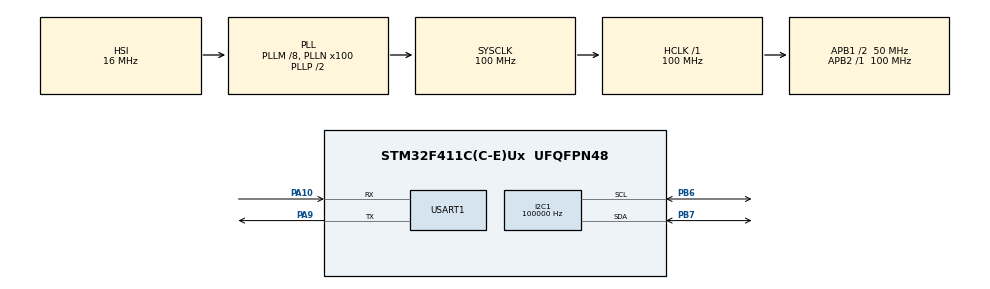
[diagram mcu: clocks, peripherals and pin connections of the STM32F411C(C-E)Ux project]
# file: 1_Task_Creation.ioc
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FREERTOS.Tasks01=defaultTask,24,256,StartDefaultTask,Default,NULL,Dynamic,NULL,NULL
I2C1.ClockSpeed=100000
Mcu.Family=STM32F4
Mcu.Name=STM32F411C(C-E)Ux
Mcu.Package=UFQFPN48
NVIC.PriorityGroup=NVIC_PRIORITYGROUP_4
NVIC.TIM1_UP_TIM10_IRQn=true\:15\:0\:false\:false\:true\:false\:false\:true\:true
NVIC.TimeBase=TIM1_UP_TIM10_IRQn
NVIC.TimeBaseIP=TIM1
PA10.Mode=Asynchronous
PA10.Signal=USART1_RX
PA13.Mode=Serial_Wire
PA13.Signal=SYS_JTMS-SWDIO
PA14.Mode=Serial_Wire
PA14.Signal=SYS_JTCK-SWCLK
PA9.Mode=Asynchronous
PA9.Signal=USART1_TX
PB6.Mode=I2C
PB6.Signal=I2C1_SCL
PB7.Mode=I2C
PB7.Signal=I2C1_SDA
PC14-OSC32_IN.Mode=LSE-External-Oscillator
PC14-OSC32_IN.Signal=RCC_OSC32_IN
PC15-OSC32_OUT.Mode=LSE-External-Oscillator
PC15-OSC32_OUT.Signal=RCC_OSC32_OUT
PH0\ -\ OSC_IN.Mode=HSE-External-Oscillator
PH0\ -\ OSC_IN.Signal=RCC_OSC_IN
PH1\ -\ OSC_OUT.Mode=HSE-External-Oscillator
PH1\ -\ OSC_OUT.Signal=RCC_OSC_OUT
ProjectManager.HeapSize=0x200
ProjectManager.StackSize=0x400
ProjectManager.TargetToolchain=MDK-ARM V5.32
RCC.48MHZClocksFreq_Value=50000000
RCC.AHBFreq_Value=100000000
RCC.APB1CLKDivider=RCC_HCLK_DIV2
RCC.APB1Freq_Value=50000000
RCC.APB1TimFreq_Value=100000000
RCC.APB2Freq_Value=100000000
RCC.APB2TimFreq_Value=100000000
RCC.CortexFreq_Value=100000000
RCC.HCLKFreq_Value=100000000
RCC.HSE_VALUE=25000000
RCC.HSI_VALUE=16000000
RCC.PLLM=8
RCC.PLLN=100
RCC.SYSCLKFreq_VALUE=100000000
RCC.SYSCLKSource=RCC_SYSCLKSOURCE_PLLCLK
RCC.VCOOutputFreq_Value=200000000
USART1.VirtualMode=VM_ASYNC
VP_FREERTOS_VS_CMSIS_V2.Mode=CMSIS_V2
VP_SYS_VS_tim1.Mode=TIM1
board=custom

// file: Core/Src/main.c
/* USER CODE BEGIN Header */
/**
  ******************************************************************************
  * @file           : main.c
  * @brief          : Main program body
  ******************************************************************************
  * @attention
  *
  * Copyright (c) 2026 STMicroelectronics.
  * All rights reserved.
  *
  * This software is licensed under terms that can be found in the LICENSE file
  * in the root directory of this software component.
  * If no LICENSE file comes with this software, it is provided AS-IS.
  *
  ******************************************************************************
  */
/* USER CODE END Header */
#include "main.h"
#include "cmsis_os.h"
#include "i2c.h"
#include "usart.h"
#include "gpio.h"

void SystemClock_Config(void);
void MX_FREERTOS_Init(void);

int main(void)
{

  /* MCU Configuration--------------------------------------------------------*/

  /* Reset of all peripherals, Initializes the Flash interface and the Systick. */
  HAL_Init();

  /* Configure the system clock */
  SystemClock_Config();

  /* Initialize all configured peripherals */
  MX_GPIO_Init();
  MX_I2C1_Init();
  MX_USART1_UART_Init();

  /* Init scheduler */
  osKernelInitialize();  /* Call init function for freertos objects (in cmsis_os2.c) */
  MX_FREERTOS_Init();

  /* Start scheduler */
  osKernelStart();

  /* We should never get here as control is now taken by the scheduler */

  /* Infinite loop */
  while (1)
  {

  }
}

void SystemClock_Config(void)
{
  RCC_OscInitTypeDef RCC_OscInitStruct = {0};
  RCC_ClkInitTypeDef RCC_ClkInitStruct = {0};

  /** Configure the main internal regulator output voltage
  */
  __HAL_RCC_PWR_CLK_ENABLE();
  __HAL_PWR_VOLTAGESCALING_CONFIG(PWR_REGULATOR_VOLTAGE_SCALE1);

  /** Initializes the RCC Oscillators according to the specified parameters
  * in the RCC_OscInitTypeDef structure.
  */
  RCC_OscInitStruct.OscillatorType = RCC_OSCILLATORTYPE_HSI;
  RCC_OscInitStruct.HSIState = RCC_HSI_ON;
  RCC_OscInitStruct.HSICalibrationValue = RCC_HSICALIBRATION_DEFAULT;
  RCC_OscInitStruct.PLL.PLLState = RCC_PLL_ON;
  RCC_OscInitStruct.PLL.PLLSource = RCC_PLLSOURCE_HSI;
  RCC_OscInitStruct.PLL.PLLM = 8;
  RCC_OscInitStruct.PLL.PLLN = 100;
  RCC_OscInitStruct.PLL.PLLP = RCC_PLLP_DIV2;
  RCC_OscInitStruct.PLL.PLLQ = 4;
  if (HAL_RCC_OscConfig(&RCC_OscInitStruct) != HAL_OK)
  {
    Error_Handler();
  }

  /** Initializes the CPU, AHB and APB buses clocks
  */
  RCC_ClkInitStruct.ClockType = RCC_CLOCKTYPE_HCLK|RCC_CLOCKTYPE_SYSCLK
                              |RCC_CLOCKTYPE_PCLK1|RCC_CLOCKTYPE_PCLK2;
  RCC_ClkInitStruct.SYSCLKSource = RCC_SYSCLKSOURCE_PLLCLK;
  RCC_ClkInitStruct.AHBCLKDivider = RCC_SYSCLK_DIV1;
  RCC_ClkInitStruct.APB1CLKDivider = RCC_HCLK_DIV2;
  RCC_ClkInitStruct.APB2CLKDivider = RCC_HCLK_DIV1;

  if (HAL_RCC_ClockConfig(&RCC_ClkInitStruct, FLASH_LATENCY_3) != HAL_OK)
  {
    Error_Handler();
  }
}

void HAL_TIM_PeriodElapsedCallback(TIM_HandleTypeDef *htim)
{
  if (htim->Instance == TIM1)
  {
    HAL_IncTick();
  }
}

void Error_Handler(void)
{
  __disable_irq();
  while (1)
  {
  }
}

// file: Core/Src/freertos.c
/* USER CODE BEGIN Header */
/**
  ******************************************************************************
  * File Name          : freertos.c
  * Description        : Code for freertos applications
  ******************************************************************************
  * @attention
  *
  * Copyright (c) 2026 STMicroelectronics.
  * All rights reserved.
  *
  * This software is licensed under terms that can be found in the LICENSE file
  * in the root directory of this software component.
  * If no LICENSE file comes with this software, it is provided AS-IS.
  *
  ******************************************************************************
  */
/* USER CODE END Header */

#include "FreeRTOS.h"
#include "task.h"
#include "main.h"
#include "cmsis_os.h"

/* USER CODE BEGIN Includes */
#include "stdio.h"
#include "i2c.h"
#include "lsm6dsv16x.h"
#include "usart.h"
/* USER CODE END Includes */

/* USER CODE BEGIN PD */

/* Poll cadence. The IMU runs at 240 Hz but one register read costs ~2 ms on a
   100 kHz bus, and draining the FIFO adds most of another millisecond, so the
   loop lands near 100 Hz; every IMU_OUTPUT_EVERY polls the accumulated samples
   are averaged and one CSV line goes out (~35 Hz). Keep the line rate
   comfortably under 115200/(chars per line) or the UART becomes the bottleneck
   instead of the bus. */
#define IMU_POLL_MS              5U
#define IMU_OUTPUT_EVERY         3U

/* While no fused sample has ever arrived, say so with the evidence that would
   explain why: how many FIFO words were drained and what tag the last one had.
   Rate-limited because this prints in the middle of the CSV stream. */
#define IMU_SFLP_WARN_MS         3000U

/* Consecutive "data not ready" reads before the device counts as stopped. At
   ~140 Hz this is about 3.5 s, far longer than a momentary stall, and it is the
   only way out of an IMU that is powered but has stopped converting. */
#define IMU_MAX_BUSY_STREAK      500U

/* USER CODE END PD */

/* Definitions for defaultTask */
osThreadId_t defaultTaskHandle;
const osThreadAttr_t defaultTask_attributes = {
  .name = "defaultTask",
  .stack_size = 256 * 4,
  .priority = (osPriority_t) osPriorityNormal,
};

/* USER CODE BEGIN FunctionPrototypes */
static void imu_delay_us(uint32_t us);
static void imu_bus_recover(void);
static long imu_e4(float value);
/* USER CODE END FunctionPrototypes */

void StartDefaultTask(void *argument);

void MX_FREERTOS_Init(void); /* (MISRA C 2004 rule 8.1) */

void MX_FREERTOS_Init(void) {

  /* Create the thread(s) */
  /* creation of defaultTask */
  defaultTaskHandle = osThreadNew(StartDefaultTask, NULL, &defaultTask_attributes);

}

void StartDefaultTask(void *argument)
{
  /* USER CODE BEGIN StartDefaultTask */
  LSM6DSV16X_RawData imu_data;
  LSM6DSV16X_Sflp sflp;
  HAL_StatusTypeDef imu_status;
  HAL_StatusTypeDef sflp_status;
  uint8_t imu_ready = 0U;
  uint8_t read_error_count = 0U;
  uint8_t output_divider = 0U;
  uint8_t sample_count = 0U;
  uint16_t busy_streak = 0U;
  int32_t accel_sum[3] = {0, 0, 0};
  int32_t gyro_sum[3] = {0, 0, 0};
  /* Last fused attitude, scalar-first. All four zero is the "the chip has not
     produced one yet" sentinel the host looks for. */
  float quat[4] = {0.0f, 0.0f, 0.0f, 0.0f};
  uint32_t sflp_seen = 0U;
  uint32_t fifo_words = 0U;
  uint8_t fifo_tag = 0U;
  uint32_t sflp_warn_tick = 0U;

  printf("\r\nSTM32F411 LSM6DSV16X I2C reader\r\n");
  printf("I2C1: PB6=SCL, PB7=SDA, 100kHz; UART1: 115200 8N1\r\n");

  /* Infinite loop */
  for(;;)
  {
    if (imu_ready == 0U)
    {
      /* Unlock the bus before every detection attempt. A HAL I2C state machine
         that latched up never recovers on its own, and re-running Init alone
         leaves it latched: IsDeviceReady just fails again forever. */
      imu_bus_recover();

      imu_status = LSM6DSV16X_Init(&hi2c1);
      if (imu_status == HAL_OK)
      {
        imu_ready = 1U;
        read_error_count = 0U;
        busy_streak = 0U;
        output_divider = 0U;
        sample_count = 0U;
        sflp_seen = 0U;
        fifo_words = 0U;
        fifo_tag = 0U;
        sflp_warn_tick = HAL_GetTick();
        quat[0] = 0.0f;
        quat[1] = 0.0f;
        quat[2] = 0.0f;
        quat[3] = 0.0f;
        printf("LSM6DSV16X detected at 0x%02X (WHO_AM_I=0x70)\r\n",
               (unsigned int)LSM6DSV16X_GetAddress());
        if (LSM6DSV16X_EnableSflp() == HAL_OK)
        {
          printf("SFLP enabled: game rotation vector at 120 Hz, read from the FIFO\r\n");
        }
        else
        {
          printf("SFLP unavailable; quaternion columns will stay zero\r\n");
        }
        /* q*_e4 is a quaternion component times 10000: printf cannot format a
           float here, and a fixed-point column keeps the CSV self-describing. */
        printf("time_ms,ax_mg,ay_mg,az_mg,gx_mdps,gy_mdps,gz_mdps,"
               "qw_e4,qx_e4,qy_e4,qz_e4\r\n");
      }
      else
      {
        printf("LSM6DSV16X not found at 0x6A/0x6B; retrying...\r\n");
        osDelay(1000U);
      }
      continue;
    }

    imu_status = LSM6DSV16X_ReadRaw(&imu_data);
    sflp_status = LSM6DSV16X_ReadSflp(&sflp);

    if (sflp_status == HAL_OK)
    {
      /* Straight from the chip's fusion block -- no host-side filtering. It
         ships x/y/z only; the driver rebuilds w from the unit-norm constraint. */
      quat[0] = sflp.quat.w;
      quat[1] = sflp.quat.x;
      quat[2] = sflp.quat.y;
      quat[3] = sflp.quat.z;
      ++sflp_seen;
    }
    else if (sflp_status == HAL_BUSY)
    {
      if (sflp.words != 0U)
      {
        fifo_words += (uint32_t)sflp.words;
        fifo_tag = sflp.tag;
      }
    }
    else
    {
      /* Bus trouble on the FIFO read: let the raw path's error counter see it. */
      imu_status = HAL_ERROR;
    }

    if (imu_status == HAL_OK)
    {
      read_error_count = 0U;
      busy_streak = 0U;

      /* The ODR is faster than this loop, so each read returns the newest
         conversion and the ones in between are gone. Averaging what is read
         before decimating is what keeps their quantisation out of the stream. */
      accel_sum[0] += imu_data.accel_x;
      accel_sum[1] += imu_data.accel_y;
      accel_sum[2] += imu_data.accel_z;
      gyro_sum[0] += imu_data.gyro_x;
      gyro_sum[1] += imu_data.gyro_y;
      gyro_sum[2] += imu_data.gyro_z;
      ++sample_count;

      if (++output_divider >= IMU_OUTPUT_EVERY)
      {
        output_divider = 0U;
        printf("%lu,%ld,%ld,%ld,%ld,%ld,%ld,%ld,%ld,%ld,%ld\r\n",
               (unsigned long)HAL_GetTick(),
               (long)LSM6DSV16X_AccelRawToMg((int16_t)(accel_sum[0] / (int32_t)sample_count)),
               (long)LSM6DSV16X_AccelRawToMg((int16_t)(accel_sum[1] / (int32_t)sample_count)),
               (long)LSM6DSV16X_AccelRawToMg((int16_t)(accel_sum[2] / (int32_t)sample_count)),
               (long)LSM6DSV16X_GyroRawToMdps((int16_t)(gyro_sum[0] / (int32_t)sample_count)),
               (long)LSM6DSV16X_GyroRawToMdps((int16_t)(gyro_sum[1] / (int32_t)sample_count)),
               (long)LSM6DSV16X_GyroRawToMdps((int16_t)(gyro_sum[2] / (int32_t)sample_count)),
               imu_e4(quat[0]),
               imu_e4(quat[1]),
               imu_e4(quat[2]),
               imu_e4(quat[3]));
        accel_sum[0] = 0;
        accel_sum[1] = 0;
        accel_sum[2] = 0;
        gyro_sum[0] = 0;
        gyro_sum[1] = 0;
        gyro_sum[2] = 0;
        sample_count = 0U;
      }
    }
    else if (imu_status == HAL_BUSY)
    {
      /* Routine: the loop polls a little faster than the device converts. A
         streak this long means the device is not converting at all. */
      if (++busy_streak >= IMU_MAX_BUSY_STREAK)
      {
        printf("LSM6DSV16X stopped producing data; reinitializing...\r\n");
        imu_ready = 0U;
      }
    }
    else
    {
      ++read_error_count;
      if (read_error_count >= 3U)
      {
        printf("LSM6DSV16X I2C read failed; reinitializing...\r\n");
        imu_ready = 0U;
      }
    }

    if ((sflp_seen == 0U) &&
        ((HAL_GetTick() - sflp_warn_tick) >= IMU_SFLP_WARN_MS))
    {
      sflp_warn_tick = HAL_GetTick();
      printf("SFLP waiting: no game rotation vector yet "
             "(%lu FIFO words drained, last tag 0x%02X)\r\n",
             (unsigned long)fifo_words, (unsigned int)fifo_tag);
    }

    osDelay(IMU_POLL_MS);
  }
  /* USER CODE END StartDefaultTask */
}

/* USER CODE BEGIN Application */

/* Quaternion component -> units of 1e-4. printf on this target has no float
   conversion, so the CSV carries fixed point and the column name carries the
   scale. */
static long imu_e4(float value)
{
  return (long)((value >= 0.0f) ? ((value * 10000.0f) + 0.5f)
                                : ((value * 10000.0f) - 0.5f));
}

/* Coarse microsecond busy wait: a few cycles per iteration on the 100 MHz core,
   which is all the timing precision an I2C bus recovery needs. */
static void imu_delay_us(uint32_t us)
{
  volatile uint32_t cycles = us * 8U;

  while (cycles-- != 0U)
  {
    __NOP();
  }
}

/**
  * @brief  Reset I2C1 and bit-bang the bus free.
  * @note   A HAL I2C that latched mid-transfer stays latched: DeInit hands
  *         PB6/PB7 back as plain GPIO, nine SCL pulses walk a slave that is
  *         holding SDA low through its shift register, a manual STOP ends the
  *         frame, and MX_I2C1_Init puts the peripheral (and AF4 on the pins)
  *         back. Skipping any of this leaves the port dead until power cycle.
  */
static void imu_bus_recover(void)
{
  GPIO_InitTypeDef gpio = {0};
  uint8_t pulse;

  HAL_I2C_DeInit(&hi2c1);

  __HAL_RCC_GPIOB_CLK_ENABLE();
  gpio.Pin = GPIO_PIN_6 | GPIO_PIN_7;
  gpio.Mode = GPIO_MODE_OUTPUT_OD;
  gpio.Pull = GPIO_PULLUP;
  gpio.Speed = GPIO_SPEED_FREQ_VERY_HIGH;
  HAL_GPIO_Init(GPIOB, &gpio);

  /* Both lines released; the pull-ups take them high. */
  HAL_GPIO_WritePin(GPIOB, GPIO_PIN_6, GPIO_PIN_SET);
  HAL_GPIO_WritePin(GPIOB, GPIO_PIN_7, GPIO_PIN_SET);
  imu_delay_us(10U);

  for (pulse = 0U; pulse < 9U; ++pulse)
  {
    HAL_GPIO_WritePin(GPIOB, GPIO_PIN_6, GPIO_PIN_RESET);
    imu_delay_us(5U);
    HAL_GPIO_WritePin(GPIOB, GPIO_PIN_6, GPIO_PIN_SET);
    imu_delay_us(5U);
  }

  /* STOP: SDA low to high while SCL is high. */
  HAL_GPIO_WritePin(GPIOB, GPIO_PIN_7, GPIO_PIN_RESET);
  imu_delay_us(5U);
  HAL_GPIO_WritePin(GPIOB, GPIO_PIN_6, GPIO_PIN_SET);
  imu_delay_us(5U);
  HAL_GPIO_WritePin(GPIOB, GPIO_PIN_7, GPIO_PIN_SET);
  imu_delay_us(5U);

  /* HAL_I2C_Init rather than MX_I2C1_Init: that wrapper calls Error_Handler on
     failure, and Error_Handler disables interrupts and spins forever. A recovery
     routine that can turn a transient bus fault into a bridge that is silent
     until the next power cycle is worse than no recovery routine at all. If the
     re-arm fails here the main loop simply tries again next iteration.
     MspInit still runs (the state was put back to RESET by DeInit), so PB6/PB7
     get their AF4 configuration and the I2C1 clock is re-enabled. */
  if (HAL_I2C_Init(&hi2c1) != HAL_OK)
  {
    printf("I2C1 re-init failed; will retry\r\n");
  }
}

int fputc(int ch,FILE *f)
{
	HAL_UART_Transmit(&huart1,(uint8_t *)&ch,1,0xFFFF);
	return ch;
}
/* USER CODE END Application */
